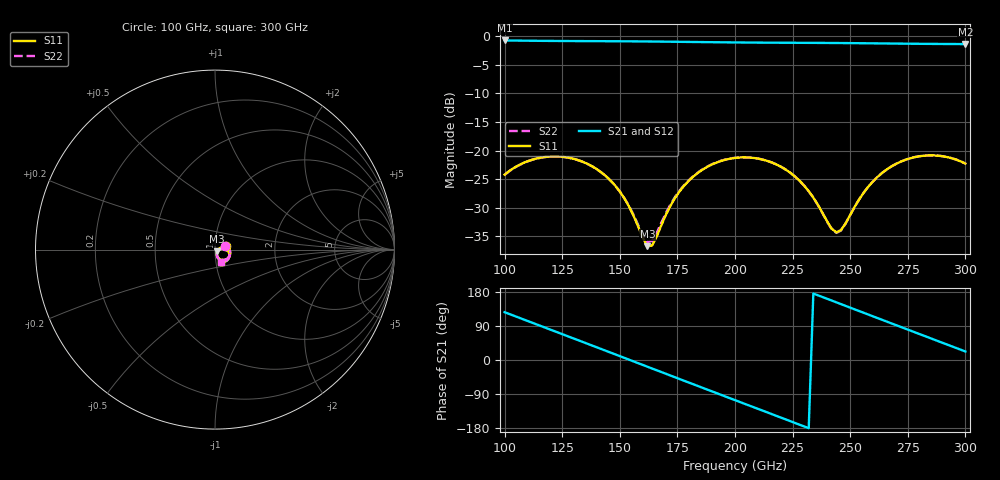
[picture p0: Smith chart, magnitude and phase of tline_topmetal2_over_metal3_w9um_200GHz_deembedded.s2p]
! Created with skrf 2.2.0 (http://scikit-rf.org).
# GHz S DB R 50.0
! Port[1] = P1
! Port[2] = P2
!freq dBS11 angS11 dBS21 angS21 dBS12 angS12 dBS22 angS22
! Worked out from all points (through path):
!   101 points, 100 GHz to 300 GHz, reference 50 ohm
!   highest |S21| = -0.74 dB at 100 GHz (marker M1); lowest = -1.4 dB at 300 GHz (marker M2)
!   group delay of S21, straight-line fit = 6.44 ps
!   lowest |S11| = -36.7 dB at 162 GHz (marker M3), VSWR 1.03, Z = 51.2 - j0.892 ohm
!   |S11| at or under -10 dB: start of sweep to end of sweep
!   |S22| runs from -36.0 to -20.8 dB; largest |S21 - S12| = 1.6e-13
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100  -24.22 17.5  -0.74 126.1  -0.74 126.1  -24.26 18.0
108  -22.19 3.4  -0.77 107.6  -0.77 107.6  -22.22 3.8
116  -21.21 -11.8  -0.80 89.1  -0.80 89.1  -21.23 -11.4
124  -21.05 -27.2  -0.83 70.6  -0.83 70.6  -21.07 -26.8
134  -21.98 -46.3  -0.85 47.4  -0.85 47.4  -22.00 -45.7
150  -27.18 -70.9  -0.88 10.2  -0.88 10.2  -27.16 -69.5
162  -36.73 -36.7  -0.91 -17.7  -0.91 -17.7  -36.00 -34.9
164  -36.61 -14.7  -0.92 -22.4  -0.92 -22.4  -35.82 -15.1
168  -33.09 12.0  -0.94 -31.7  -0.94 -31.7  -32.65 9.6
174  -28.28 17.9  -0.96 -45.7  -0.96 -45.7  -28.10 15.8
182  -24.52 9.2  -1.00 -64.3  -1.00 -64.3  -24.43 7.7
192  -22.10 -7.4  -1.05 -87.4  -1.05 -87.4  -22.05 -8.7
200  -21.29 -22.0  -1.08 -105.9  -1.08 -105.9  -21.26 -23.2
208  -21.29 -36.7  -1.11 -124.4  -1.11 -124.4  -21.27 -37.8
218  -22.44 -54.4  -1.13 -147.5  -1.13 -147.5  -22.43 -55.4
226  -24.53 -66.4  -1.14 -166.0  -1.14 -166.0  -24.53 -67.5
234  -28.23 -72.0  -1.16 175.4  -1.16 175.4  -28.26 -73.2
244  -34.30 -35.1  -1.18 152.1  -1.18 152.1  -34.41 -35.7
256  -27.29 6.0  -1.22 124.2  -1.22 124.2  -27.28 5.5
268  -22.76 -7.2  -1.27 96.4  -1.27 96.4  -22.75 -7.9
282  -20.90 -31.1  -1.33 64.0  -1.33 64.0  -20.89 -31.9
300  -22.28 -62.0  -1.37 22.4  -1.37 22.4  -22.27 -62.8
